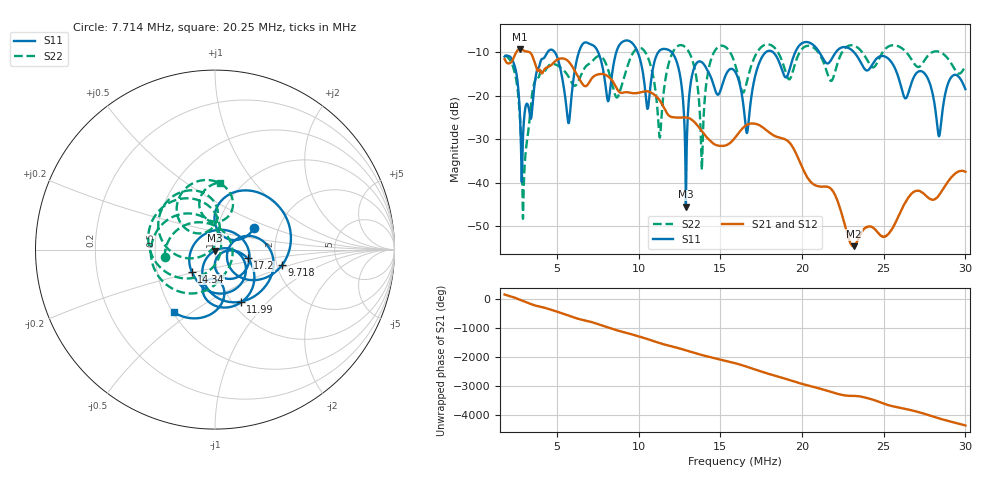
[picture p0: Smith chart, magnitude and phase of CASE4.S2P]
!Agilent Technologies,E5061B,MY49101568,A.02.00
!Date: Wed Mar 01 13:15:46 2023
!Data & Calibration Information:
!Freq	S11:SOLT2(OFF)	S21:SOLT2(OFF)	S12:SOLT2(OFF)	S22:SOLT2(OFF)
# Hz S dB R 50
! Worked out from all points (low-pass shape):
!   1155 points, 1.8 MHz to 30 MHz, reference 50 ohm
!   highest |S21| = -9.19 dB at 2.729 MHz (marker M1); lowest = -54.6 dB at 23.18 MHz (marker M2)
!   |S21| within 3 dB of the highest: 2.206 MHz to 3.63 MHz (1.424 MHz wide, 48.8 % of centre); 4.839 MHz to 5.739 MHz (899.7 kHz wide, 17 % of centre)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
!   lowest |S11| = -45.5 dB at 12.89 MHz (marker M3), VSWR 1.01, Z = 50.2 - j0.508 ohm
!   |S11| at or under -10 dB: start of sweep to 4.413 MHz; 12.04 MHz to 17.77 MHz (5.724 MHz wide, 38.4 % of centre); 23.2 MHz to end of sweep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
!   |S22| runs from -48.3 to -8.1 dB; largest |S21 - S12| = 0.0045
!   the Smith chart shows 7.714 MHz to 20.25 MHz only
!   S11 on the Smith chart (normalised r, x): 7.714 MHz: 1.50, +0.39; 9.718 MHz: 2.14, -0.42; 11.99 MHz: 1.09, -0.71; 14.34 MHz: 0.75, -0.19; 17.2 MHz: 1.43, -0.15; 20.25 MHz: 0.50, -0.43
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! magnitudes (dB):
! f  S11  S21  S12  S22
! 1.8 MHz  -11.0  -11.5  -11.5  -10.8
! 2.729 MHz  -23.6  -9.2  -9.2  -24.3
! 2.973 MHz  -26.1  -9.6  -9.6  -40.7
! 3.731 MHz  -15.0  -13.3  -13.4  -15.6
! 5.71 MHz  -26.3  -12.1  -12.1  -15.6
! 6.516 MHz  -8.4  -17.0  -16.9  -14.9
! 7.714 MHz  -12.0  -14.9  -14.9  -11.0
! 9.718 MHz  -8.3  -19.4  -19.4  -9.8
! 10.55 MHz  -23.0  -18.9  -19.0  -11.0
! 11.21 MHz  -9.9  -20.6  -20.6  -25.9
! 11.99 MHz  -9.8  -24.8  -24.9  -10.8
! 12.89 MHz  -45.5  -25.0  -25.0  -8.9
! 13.87 MHz  -12.2  -28.1  -28.1  -37.1
! 14.34 MHz  -15.0  -30.2  -30.2  -13.0
! 15.9 MHz  -14.4  -29.6  -29.7  -12.6
! 16.63 MHz  -28.6  -26.6  -26.7  -16.6
! 17.2 MHz  -14.5  -26.5  -26.6  -10.3
! 20.25 MHz  -7.6  -38.3  -38.3  -8.5
! 20.62 MHz  -8.1  -40.1  -40.1  -8.7
! 23.18 MHz  -9.9  -54.6  -54.5  -8.4
! 25.31 MHz  -11.5  -51.7  -51.7  -8.6
! 30 MHz  -18.4  -37.5  -37.4  -13.1
